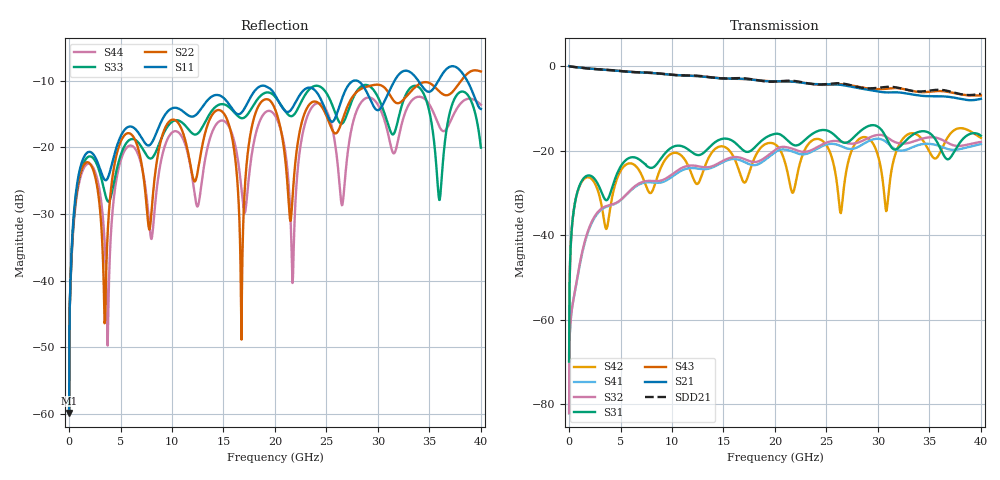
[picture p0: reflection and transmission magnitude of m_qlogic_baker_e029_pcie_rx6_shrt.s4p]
! freq	real(S11)	imag(S11)	real(S12)	imag(S12)	real(S13)	imag(S13)
!  real(S14)	imag(S14)
!  real(S21)	imag(S21)	real(S22)	imag(S22)	real(S23)	imag(S23)
!  real(S24)	imag(S24)
!  real(S31)	imag(S31)	real(S32)	imag(S32)	real(S33)	imag(S33)
!  real(S34)	imag(S34)
!  real(S41)	imag(S41)	real(S42)	imag(S42)	real(S43)	imag(S43)
!  real(S44)	imag(S44)
!port1: p1  port2: p2  port3: p3  port4: p4
#  MHz  S  RI  R 50
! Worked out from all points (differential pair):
!   8000 points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, 5 MHz to 40 GHz, reference 50 ohm
!   strongest paths, dB at 5 MHz, 10.01 GHz, 20 GHz, 30 GHz, 40 GHz:
!     S21: 0.0, -2.1, -3.6, -6.0, -7.7
!     S43: 0.0, -2.0, -3.6, -5.4, -6.9
!     S31: -69.9, -19.2, -16.0, -14.3, -16.5
!     S32: -82.2, -25.6, -19.9, -16.3, -17.9
!     S41: -82.2, -26.2, -20.4, -17.2, -18.4
!     S42: -69.9, -20.6, -18.5, -21.2, -17.0
!   taken as a pair (ports 1,3 in; 2,4 out), SDD21 dB: 0.0, -2.1, -3.7, -5.1, -6.5
!   lowest |S11| = -59.8 dB at 5 MHz (marker M1), VSWR 1.00, Z = 50.1 + j0.0007 ohm
!   |S11| at or under -10 dB: start of sweep to 27.63 GHz; 27.99 GHz to 31.62 GHz (3.629 GHz wide, 12.2 % of centre); 33.92 GHz to 35.86 GHz (1.943 GHz wide, 5.57 % of centre)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
5  0.00102 6.99e-06  0.9989 -0.00427  0.000285 3.91e-05  -0.000118 -9.43e-06
   0.9989 -0.00427  0.00101 7.4e-06  -0.000118 -9.44e-06  0.000284 3.88e-05
   0.000316 4.39e-05  -7.78e-05 -5.92e-06  0.00102 1.4e-05  0.9989 -0.00423
   -7.78e-05 -5.91e-06  0.000317 4.35e-05  0.9989 -0.00423  0.00102 1.42e-05
4000  -0.0332 -0.0582  -0.8732 -0.2057  0.0181 0.0254  -0.0034 0.0221
      -0.8732 -0.2057  0.0149 -0.0403  -0.00409 0.0223  -0.0129 0.0167
      0.0181 0.0254  -0.00407 0.0224  -0.0262 -0.0317  -0.8681 -0.2288
      -0.0034 0.0222  -0.0129 0.0166  -0.8681 -0.2288  0.00214 -0.0179
6770  -0.1068 -0.0698  0.1379 0.8332  0.0718 0.0339  0.039 -0.00694
      0.1379 0.8332  -0.0885 0.0332  0.0405 -0.00395  0.0485 -0.0341
      0.0717 0.0339  0.0405 -0.00396  -0.089 -0.061  0.1039 0.8386
      0.039 -0.00691  0.0486 -0.0342  0.1039 0.8386  -0.0824 0.0247
10885  -0.1534 -0.1134  0.052 -0.7761  0.1067 0.039  -0.0575 -0.00565
       0.052 -0.7761  -0.1391 0.0116  -0.0609 -0.0114  0.088 -0.00329
       0.1067 0.0389  -0.0609 -0.0114  -0.1249 -0.0927  0.1039 -0.7719
       -0.0576 -0.00568  0.0879 -0.00328  0.1039 -0.7719  -0.1226 -0.00957
15515  -0.1975 -0.0766  0.0288 0.7121  0.1364 0.0109  0.0779 -0.00606
       0.0288 0.7121  -0.1421 -0.0453  0.0811 0.00404  0.102 0.00356
       0.1364 0.0109  0.0811 0.00403  -0.1779 -0.0941  -0.0388 0.7087
       0.0778 -0.00601  0.102 0.00354  -0.0388 0.7087  -0.1402 -0.0331
19845  -0.2532 -0.0542  0.0409 -0.6604  0.1563 0.00415  -0.0909 -0.0173
       0.0409 -0.6604  -0.1774 -0.1059  -0.0932 -0.031  0.1048 0.0616
       0.1563 0.00414  -0.0931 -0.031  -0.239 -0.0644  0.1239 -0.6498
       -0.091 -0.0174  0.1048 0.0616  0.1239 -0.6498  -0.1515 -0.0975
40000  -0.1896 -0.0418  -0.4052 -0.062  0.00816 -0.1501  0.00702 0.1194
       -0.4052 -0.062  -0.3523 -0.1166  -0.0114 0.1261  0.1197 0.0759
       0.00815 -0.1501  -0.0114 0.1261  -0.00466 0.0995  -0.4296 -0.1348
       0.00702 0.1194  0.1196 0.0759  -0.4296 -0.1348  -0.2082 0.0197
